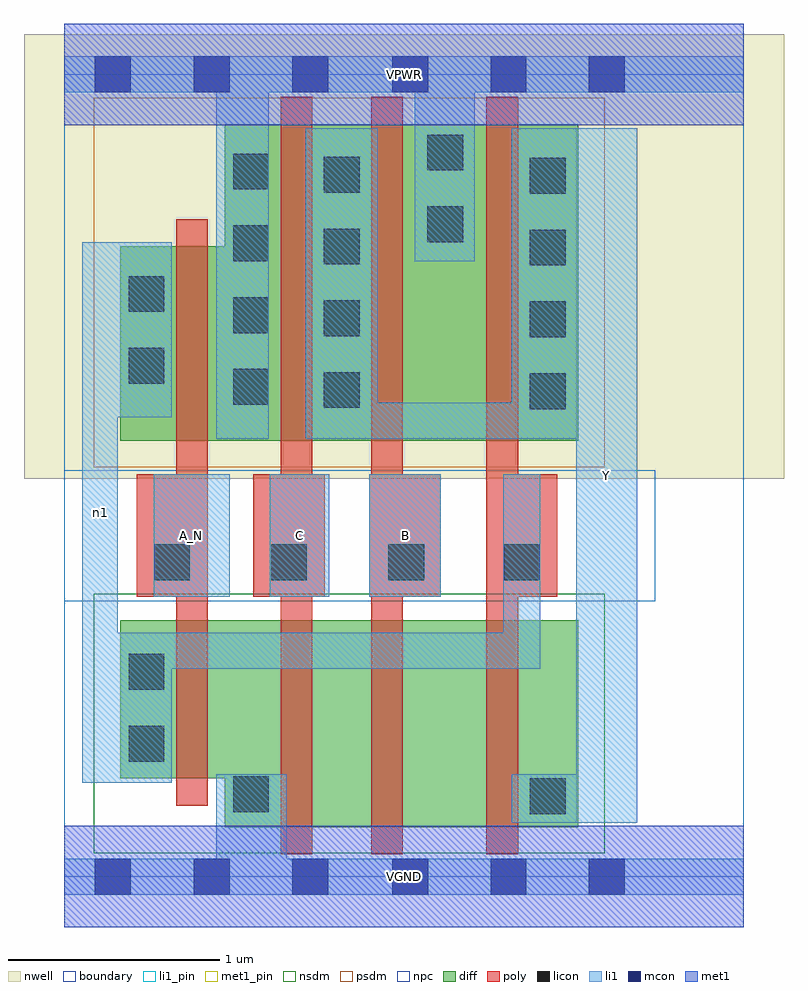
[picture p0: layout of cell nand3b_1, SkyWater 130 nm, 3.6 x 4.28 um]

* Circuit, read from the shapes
.subckt nand3b_1 A_N B C VGND VPWR Y n1
XM1 VGND A_N n1 VSUBS sky130_fd_pr__nfet_01v8 w=0.75 l=0.15
XM2 n2 C VGND VSUBS sky130_fd_pr__nfet_01v8 w=0.98 l=0.15
XM3 n3 B n2 VSUBS sky130_fd_pr__nfet_01v8 w=0.98 l=0.15
XM4 Y n1 n3 VSUBS sky130_fd_pr__nfet_01v8 w=0.98 l=0.15
XM5 VPWR A_N n1 n4 sky130_fd_pr__pfet_01v8 w=0.92 l=0.15
XM6 Y C VPWR n4 sky130_fd_pr__pfet_01v8 w=1.5 l=0.15
XM7 VPWR B Y n4 sky130_fd_pr__pfet_01v8 w=1.5 l=0.15
XM8 Y n1 VPWR n4 sky130_fd_pr__pfet_01v8 w=1.5 l=0.15
.ends

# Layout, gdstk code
import gdstk
lib = gdstk.Library(unit=1e-6, precision=1e-09)
def R(c, l, rs):  # rectangles x0, y0, x1, y1
    for r in rs: c.add(gdstk.rectangle(r[:2], r[2:], *l))
def A(c, l, x, y, w, h, nx, ny, dx, dy):  # array of equal rectangles
    R(c, l, [(x+i*dx, y+j*dy, x+i*dx+w, y+j*dy+h) for i in range(nx) for j in range(ny)])
nwell = (64, 20)
diff = (65, 20)
poly = (66, 20)
licon = (66, 44)
li1_pin = (67, 16)
li1 = (67, 20)
mcon = (67, 44)
met1_pin = (68, 16)
met1 = (68, 20)
nsdm = (93, 44)
psdm = (94, 20)
npc = (95, 20)
boundary = (235, 4)

nand3b_1 = lib.new_cell('nand3b_1')
R(nand3b_1, nwell, [(-0.19,1.885,3.41,3.99), (0,1.885,3.22,3.99)])
R(nand3b_1, diff, [(0.76,0.235,2.435,1.215), (0.265,0.465,2.435,1.215), (0.265,2.065,2.435,2.985), (0.76,2.065,2.435,3.565)])
R(nand3b_1, poly, [(1.025,0.105,1.175,3.695), (1.455,0.105,1.605,3.695), (2,0.105,2.15,3.695), (0.53,0.335,0.68,3.115), (0.345,1.325,0.68,1.905), (0.895,1.325,1.235,1.905), (1.445,1.325,1.785,1.905), (2,1.325,2.335,1.905)])
A(nand3b_1, licon, 0.425, 1.405, 0.17, 0.17, 3, 1, 0.555, 0)
A(nand3b_1, licon, 2.205, 2.215, 0.17, 0.17, 1, 4, 0, 0.34)
A(nand3b_1, licon, 1.23, 2.22, 0.17, 0.17, 1, 4, 0, 0.34)
A(nand3b_1, licon, 0.8, 2.235, 0.17, 0.17, 1, 4, 0, 0.34)
R(nand3b_1, licon, [(2.205,0.295,2.375,0.465), (0.8,0.305,0.97,0.475), (0.305,0.545,0.475,0.715), (0.305,0.885,0.475,1.055), (2.085,1.405,2.255,1.575), (0.305,2.335,0.475,2.505), (0.305,2.675,0.475,2.845), (1.72,3.005,1.89,3.175), (1.72,3.345,1.89,3.515)])
R(nand3b_1, li1_pin, [(2.425,0.255,2.715,3.545), (0.425,1.325,0.785,1.905), (0.975,1.325,1.255,1.905), (1.445,1.325,1.785,1.905)])
R(nand3b_1, li1, [(0,-0.085,3.22,0.085), (0.72,-0.085,1.055,0.485), (2.12,0.255,2.715,0.485), (2.425,0.255,2.715,3.545), (0.085,0.445,0.255,3.005), (0.085,0.445,0.51,1.155), (0.085,0.985,2.255,1.155), (2.08,0.985,2.255,1.905), (0.425,1.325,0.785,1.905), (0.975,1.325,1.255,1.905), (1.445,1.325,1.785,1.905), (0.72,2.075,0.97,3.885), (1.145,2.075,1.485,3.545), (1.145,2.075,2.715,2.245), (2.12,2.075,2.425,3.545), (0.085,2.175,0.51,3.005), (1.66,2.915,1.945,3.885), (0,3.715,3.22,3.885)])
A(nand3b_1, mcon, 1.555, -0.085, 0.17, 0.17, 3, 2, 0.465, 3.8)
R(nand3b_1, mcon, [(0.145,-0.085,0.315,0.085), (0.615,-0.085,0.785,0.085), (1.08,-0.085,1.25,0.085), (0.145,3.715,0.315,3.885), (0.615,3.715,0.785,3.885), (1.08,3.715,1.25,3.885)])
R(nand3b_1, met1_pin, [(0,-0.24,3.22,0.24), (0,3.56,3.22,4.04)])
R(nand3b_1, met1, [(0,-0.24,3.22,0.24), (0,3.56,3.22,4.04)])
R(nand3b_1, nsdm, [(0.14,0.11,2.56,1.34)])
R(nand3b_1, psdm, [(0.14,1.94,2.56,3.69)])
R(nand3b_1, npc, [(0,1.305,2.8,1.925)])
R(nand3b_1, boundary, [(0,0,3.22,3.8)])
nand3b_1.add(gdstk.Label('A_N', (0.605,1.615), layer=67, texttype=5))
nand3b_1.add(gdstk.Label('B', (1.615,1.615), layer=67, texttype=5))
nand3b_1.add(gdstk.Label('C', (1.115,1.615), layer=67, texttype=5))
nand3b_1.add(gdstk.Label('Y', (2.57,1.9), layer=67, texttype=5))
nand3b_1.add(gdstk.Label('n1', (0.17,1.725), layer=67, texttype=5))
nand3b_1.add(gdstk.Label('VPWR', (1.61,3.8), layer=68, texttype=5))
nand3b_1.add(gdstk.Label('VGND', (1.61,0), layer=68, texttype=5))
nand3b_1.add(gdstk.Label('A_N', (0.605,1.615), layer=67, texttype=16))
nand3b_1.add(gdstk.Label('B', (1.615,1.615), layer=67, texttype=16))
nand3b_1.add(gdstk.Label('C', (1.115,1.615), layer=67, texttype=16))
nand3b_1.add(gdstk.Label('Y', (2.57,1.9), layer=67, texttype=16))
nand3b_1.add(gdstk.Label('VPWR', (1.61,3.8), layer=68, texttype=16))
nand3b_1.add(gdstk.Label('VGND', (1.61,0), layer=68, texttype=16))

lib.write_gds('nand3b_1.gds')
